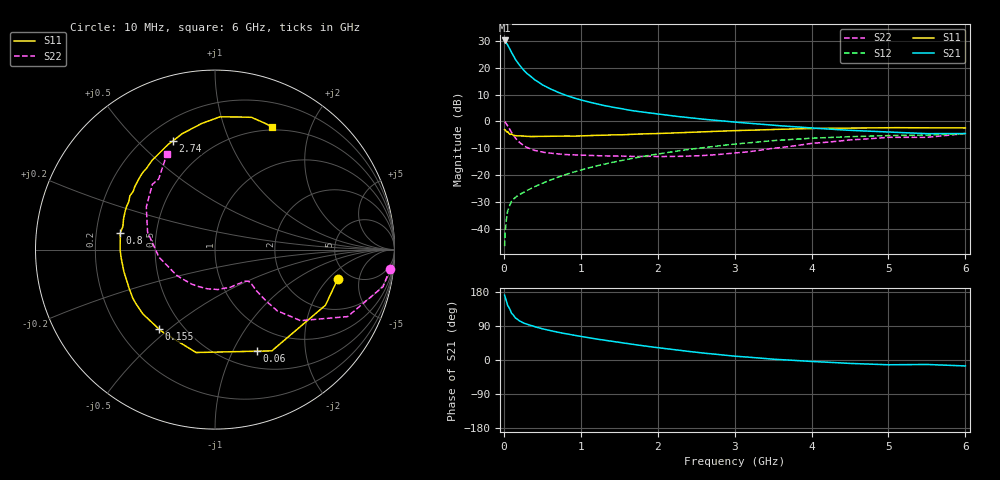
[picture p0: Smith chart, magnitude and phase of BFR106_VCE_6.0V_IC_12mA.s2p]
! Infineon Technologies  Discrete & RF Semiconductors
! BFR106
! VCE =  6.0 V,  IC =  12 mA
! Common Emitter S-Parameters:  Nov 2015
# GHz  S  MA  R  50
!  f  S11  S21  S12  S22
! GHz  MAG  ANG  MAG  ANG  MAG  ANG  MAG  ANG
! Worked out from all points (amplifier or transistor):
!   210 points, 10 MHz to 6 GHz, reference 50 ohm
!   highest |S21| = 30.2 dB at 10 MHz (marker M1)
!   |S21| within 3 dB of that: start of sweep to 73.02 MHz
!   unconditionally stable (mu >= 1): 463.8 MHz to 2.047 GHz; 5.43 GHz to end of sweep
!   at 185 MHz: K = 0.62, MSG = 24.7 dB, |S12| = -27.7 dB
!   at 1.52 GHz: K = 1.07, MAG = 8.1 dB, |S12| = -14.6 dB
!   at 6 GHz: K = 1.00, MAG = -0.3 dB, |S12| = -4.6 dB
!   S11 on the Smith chart (normalised r, x): 10 MHz: 4.00, -2.58; 60 MHz: 0.69, -1.24; 155 MHz: 0.37, -0.46; 800 MHz: 0.30, +0.08; 2.74 GHz: 0.31, +0.64; 6 GHz: 0.47, +1.47
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0.01  0.7034 -13.4  32.27 171.1  0.0047 85.7  0.9818 -6.2
0.02  0.6891 -26.7  31.39 163.8  0.0095 76.3  0.9591 -12.4
0.05  0.647 -60.7  26.52 143.9  0.0214 63.8  0.8276 -26.8
0.06  0.6119 -67.7  24.87 140.8  0.0235 61.0  0.7834 -28.8
0.1  0.583 -100.4  19.29 123.5  0.0323 53.4  0.62 -39.7
0.15  0.544 -123.6  14.31 111.0  0.0383 49.2  0.4867 -44.5
0.155  0.5419 -125.0  14 110.4  0.0387 49.2  0.479 -44.6
0.2  0.5385 -138.3  11.35 103.7  0.0428 49.0  0.4102 -45.1
0.26  0.5316 -149.6  8.969 97.3  0.0477 51.1  0.3505 -45.0
0.3  0.5251 -155.5  7.822 94.1  0.0512 52.7  0.3262 -44.8
0.4  0.5223 -166.4  5.982 87.8  0.0605 55.8  0.2872 -43.5
0.5  0.5247 -174.0  4.819 82.3  0.0696 58.8  0.266 -42.9
0.6  0.529 179.9  4.063 77.6  0.0799 60.9  0.2554 -43.7
0.8  0.5359 170.2  3.083 69.5  0.1014 62.9  0.2403 -46.9
1.02  0.5388 160.5  2.469 61.6  0.1258 64.0  0.2347 -52.2
1.4  0.5607 147.8  1.851 49.5  0.1705 63.0  0.2272 -64.8
2.02  0.5935 129.7  1.355 32.0  0.2484 57.8  0.2204 -92.4
2.74  0.6489 111.4  1.051 15.5  0.3427 48.6  0.2378 -132.3
3.1  0.6766 103.8  0.944 8.7  0.3879 43.0  0.264 -152.4
4.1  0.7409 86.4  0.736 -4.8  0.4909 26.3  0.3974 161.6
5.1  0.7623 73.4  0.624 -12.4  0.5454 11.3  0.5036 132.8
6  0.7537 64.9  0.592 -15.7  0.5899 0.2  0.5942 116.9
